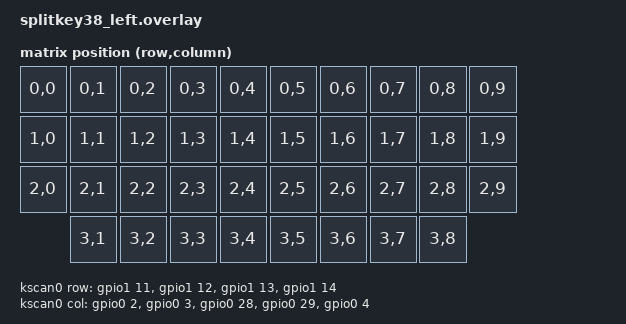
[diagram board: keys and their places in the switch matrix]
/*
 * splitkey38_left.overlay
 * Seeed XIAO nRF52840 pin mapping from schematic:
 *
 *   P0.02 = A0/D0    P0.03 = A1/D1    P0.28 = A2/D2
 *   P0.29 = A3/D3    P0.04 = A4/D4    P0.05 = A5/D5
 *   P1.11 = D6/TX    P1.12 = D7/RX    P1.13 = D8/SCK
 *   P1.14 = D9/MISO  P1.15 = D10/MOSI
 *
 * Matrix wiring (adjust col/row pins to match your PCB traces):
 *   Rows (outputs): D6, D7, D8, D9      → P1.11 P1.12 P1.13 P1.14
 *   Cols (inputs):  D0, D1, D2, D3, D4  → P0.02 P0.03 P0.28 P0.29 P0.04
 *
 * Diode direction: COL2ROW
 */

#include <dt-bindings/zmk/matrix_transform.h>

/ {
    chosen {
        zmk,kscan    = &kscan0;
        zmk,matrix_transform = &default_transform;
    };

    default_transform: keymap_transform_0 {
        compatible = "zmk,matrix-transform";
        columns = <10>;   /* 5 cols × 2 sides */
        rows    = <4>;

        /* map: RC(row, col) — left cols 0-4, right cols 5-9 */
        map = <
            RC(0,0) RC(0,1) RC(0,2) RC(0,3) RC(0,4)    RC(0,5) RC(0,6) RC(0,7) RC(0,8) RC(0,9)
            RC(1,0) RC(1,1) RC(1,2) RC(1,3) RC(1,4)    RC(1,5) RC(1,6) RC(1,7) RC(1,8) RC(1,9)
            RC(2,0) RC(2,1) RC(2,2) RC(2,3) RC(2,4)    RC(2,5) RC(2,6) RC(2,7) RC(2,8) RC(2,9)
                    RC(3,1) RC(3,2) RC(3,3) RC(3,4)    RC(3,5) RC(3,6) RC(3,7) RC(3,8)
        >;
    };

    kscan0: kscan {
        compatible = "zmk,kscan-gpio-matrix";
        label = "KSCAN";
        diode-direction = "col2row";

        row-gpios
            = <&gpio1 11 GPIO_ACTIVE_HIGH>   /* D6  / P1.11 — R1 */
            , <&gpio1 12 GPIO_ACTIVE_HIGH>   /* D7  / P1.12 — R2 */
            , <&gpio1 13 GPIO_ACTIVE_HIGH>   /* D8  / P1.13 — R3 */
            , <&gpio1 14 GPIO_ACTIVE_HIGH>   /* D9  / P1.14 — R4 thumb */
            ;

        col-gpios
            = <&gpio0  2 (GPIO_ACTIVE_HIGH | GPIO_PULL_DOWN)>   /* D0 / P0.02 — C1 */
            , <&gpio0  3 (GPIO_ACTIVE_HIGH | GPIO_PULL_DOWN)>   /* D1 / P0.03 — C2 */
            , <&gpio0 28 (GPIO_ACTIVE_HIGH | GPIO_PULL_DOWN)>   /* D2 / P0.28 — C3 */
            , <&gpio0 29 (GPIO_ACTIVE_HIGH | GPIO_PULL_DOWN)>   /* D3 / P0.29 — C4 */
            , <&gpio0  4 (GPIO_ACTIVE_HIGH | GPIO_PULL_DOWN)>   /* D4 / P0.04 — C5 */
            ;
    };
};
